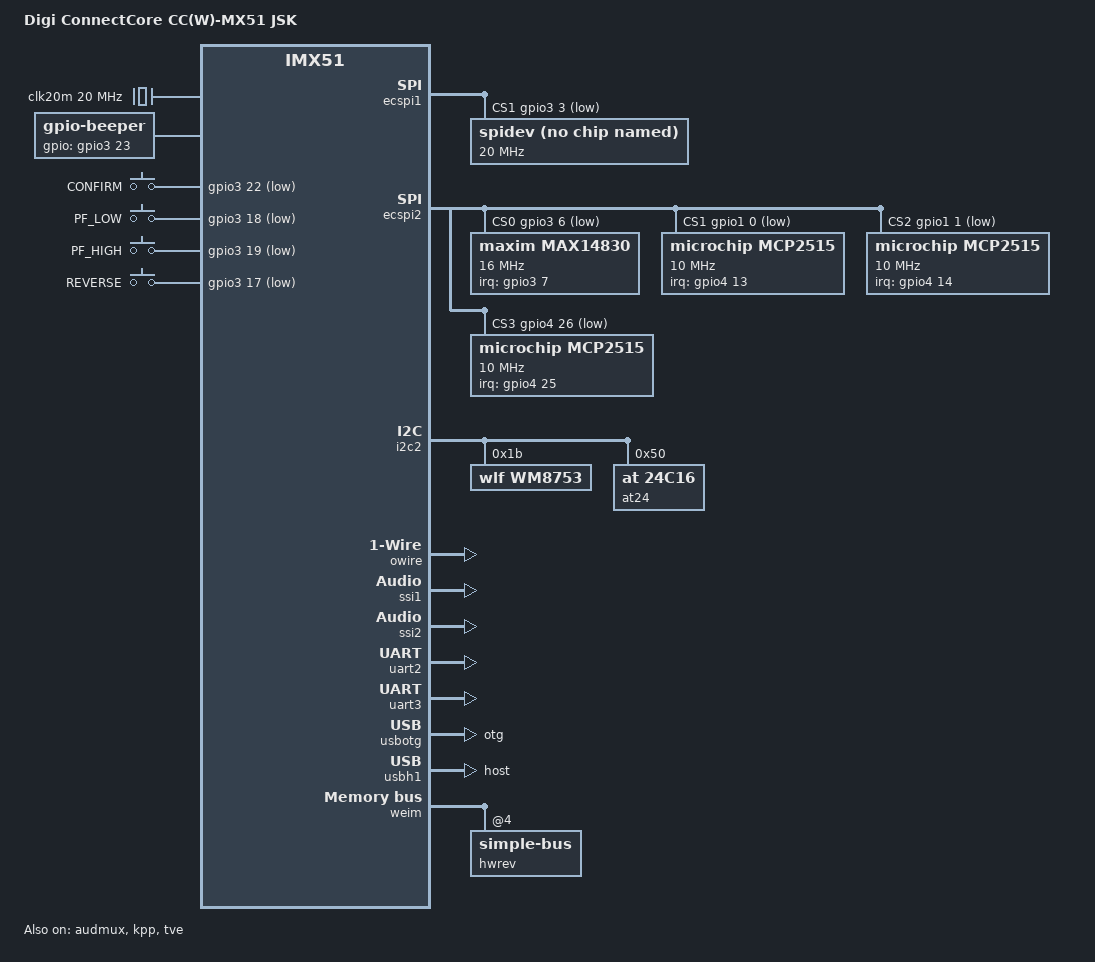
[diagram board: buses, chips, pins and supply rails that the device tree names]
/*
 * Copyright (C) 2013 Alexander Shiyan <shc_work@mail.ru>
 *
 * The code contained herein is licensed under the GNU General Public
 * License. You may obtain a copy of the GNU General Public License
 * Version 2 or later at the following locations:
 *
 * http://www.opensource.org/licenses/gpl-license.html
 * http://www.gnu.org/copyleft/gpl.html
 */

#include "imx51-digi-connectcore-som.dts"

/ {
	model = "Digi ConnectCore CC(W)-MX51 JSK";
	compatible = "digi,connectcore-ccxmx51-jsk",
		     "digi,connectcore-ccxmx51-som", "fsl,imx51";

	display@di0 {
		pinctrl-names = "default";
		pinctrl-0 = <&pinctrl_ipu_disp1_1>;
		compatible = "fsl,imx-parallel-display";
		crtcs = <&ipu 0>;
		interface-pix-fmt = "rgb565";

		display-timings {
			native-mode = <&timing_di0_0>;

			timing_di0_0: PH320240T {
				clock-frequency = <6333328>;
				hactive = <320>;
				vactive = <240>;
				hback-porch = <38>;
				hfront-porch = <20>;
				hsync-len = <30>;
				vback-porch = <15>;
				vfront-porch = <5>;
				vsync-len = <3>;
				pixelclk-active = <1>;
				hsync-active = <0>;
				vsync-active = <0>;
				de-active = <1>;
			};
		};
	};

/*	display@di1 {
		pinctrl-names = "default";
		pinctrl-0 = <&pinctrl_ipu_disp2_1>;
		compatible = "fsl,imx-parallel-display";
		crtcs = <&ipu 1>;
		interface-pix-fmt = "rgb565";

		display-timings {
			native-mode = <&timing_di1_0>;

			timing_di1_0: PD104SL5 {
				clock-frequency = <33250000>;
				hactive = <800>;
				vactive = <600>;
				hback-porch = <30>;
				hfront-porch = <30>;
				hsync-len = <60>;
				vback-porch = <1>;
				vfront-porch = <1>;
				vsync-len = <2>;
				pixelclk-active = <1>;
				de-active = <1>;
			};
		};
	};*/

	clocks {
		compatible = "simple-bus";
		#address-cells = <1>;
		#size-cells = <0>;

		clk20m: clock@0 {
			compatible = "fixed-clock";
			reg = <0>;
			clock-frequency = <20000000>;
			#clock-cells = <0>;
		};
	};

	beeper: beeper {
		compatible = "gpio-beeper";
		gpios = <&gpio3 23 0>;
	};

	gpiokeys: gpiokeys {
		compatible = "gpio-keys";

		button@0 {
			label = "CONFIRM";
			linux,code = <0x0000>;
			linux,input-type = <0x05>;
			gpios = <&gpio3 22 1>;
		};

		button@1 {
			label = "PF_LOW";
			linux,code = <0x0001>;
			linux,input-type = <0x05>;
			debounce-interval = <0>;
			gpios = <&gpio3 18 1>;
		};

		button@2 {
			label = "PF_HIGH";
			linux,code = <0x0002>;
			linux,input-type = <0x05>;
			debounce-interval = <0>;
			gpios = <&gpio3 19 1>;
		};

		button@3 {
			label = "REVERSE";
			linux,code = <0x0003>;
			linux,input-type = <0x05>;
			gpios = <&gpio3 17 1>;
		};
	};

/*
	usbh1rst: usbh1rst {
		compatible = "regulator-fixed";
		regulator-name = "USBH11-RESET";
		regulator-min-microvolt = <3300000>;
		regulator-max-microvolt = <3300000>;
		gpios = <&gpio3 8 0>;
		startup-delay-us = <650>;
		regulator-always-on;
	};
*/

	sound {
		compatible = "simple-bus";

		ssi0 {
		};

		ssi1 {
		};
	};
};

&audmux {
	pinctrl-names = "default";
	pinctrl-0 = <&pinctrl_audmux_1 &pinctrl_audmux_2>;
	status = "okay";

	/* SSI.0 slave I2S 4-wire, sync, AUD3, playback only */
	ssi0 {
		fsl,audmux-port = <0>; /* MX51_AUDMUX_PORT1_SSI0 */
		fsl,port-config = <0x94800800>, <0x00004000>;
/*
IMX_AUDMUX_V2_PTCR_TFSDIR |
IMX_AUDMUX_V2_PTCR_TFSEL(MX51_AUDMUX_PORT3) |
IMX_AUDMUX_V2_PTCR_TCLKDIR |
IMX_AUDMUX_V2_PTCR_TCSEL(MX51_AUDMUX_PORT3) |
IMX_AUDMUX_V2_PTCR_SYN
*/
/*
IMX_AUDMUX_V2_PDCR_RXDSEL(MX51_AUDMUX_PORT3)
*/
	};

	port3 {
		fsl,audmux-port = <2>; /* MX51_AUDMUX_PORT3 */
		fsl,port-config = <0x00000800> ,<0x00000000>;
	};
/*
IMX_AUDMUX_V2_PTCR_SYN
*/
/*
IMX_AUDMUX_V2_PDCR_RXDSEL(MX51_AUDMUX_PORT1_SSI0)
*/

	/* SSI.1 slave I2S 4-wire, sync, AUD5, record only */
	ssi1 {
		fsl,audmux-port = <1>; /* MX51_AUDMUX_PORT2_SSI1 */
		fsl,port-config = <0xa5000800>, <0x00008000>;
	};
/*
IMX_AUDMUX_V2_PTCR_TFSDIR |
IMX_AUDMUX_V2_PTCR_TFSEL(MX51_AUDMUX_PORT5) |
IMX_AUDMUX_V2_PTCR_TCLKDIR |
IMX_AUDMUX_V2_PTCR_TCSEL(MX51_AUDMUX_PORT5) |
IMX_AUDMUX_V2_PTCR_SYN
*/
/*
IMX_AUDMUX_V2_PDCR_RXDSEL(MX51_AUDMUX_PORT5)
*/

	port5 {
		fsl,audmux-port = <4>; /* MX51_AUDMUX_PORT5 */
		fsl,port-config = <0x00000800>, <0x00002000>;
	};
/*
IMX_AUDMUX_V2_PTCR_SYN
*/
/*
IMX_AUDMUX_V2_PDCR_RXDSEL(MX51_AUDMUX_PORT2_SSI1)
*/
};

&ecspi1 {
	fsl,spi-num-chipselects = <2>;
	cs-gpios = <&gpio4 24 0>, <&gpio3 3 1>;

	spidev: spidev@1 {
		compatible = "rohm,dh2228fv";
		reg = <1>;
		spi-max-frequency = <20000000>;
	};
};

&ecspi2 {
	pinctrl-names = "default";
	pinctrl-0 = <&pinctrl_ecspi2_1>;
	fsl,spi-num-chipselects = <4>;
	cs-gpios = <&gpio3 6 1>, <&gpio1 0 1>, <&gpio1 1 1>, <&gpio4 26 1>;
	status = "okay";

	max14830: max14830@0 {
		compatible = "maxim,max14830";
		spi-max-frequency = <16000000>;
		reg = <0>;
		clocks = <&clk20m>;
		clock-names = "osc";
		interrupt-parent = <&gpio3>;
		interrupts = <7 0x2>;
		gpio-controller;
		#gpio-cells = <2>;
	};

	mcp2515@1 {
		compatible = "microchip,mcp2515";
		spi-max-frequency = <10000000>;
		reg = <1>;
		clocks = <&clk20m>;
		interrupt-parent = <&gpio4>;
		interrupts = <13 0x2>;
	};

	mcp2515@2 {
		compatible = "microchip,mcp2515";
		spi-max-frequency = <10000000>;
		reg = <2>;
		clocks = <&clk20m>;
		interrupt-parent = <&gpio4>;
		interrupts = <14 0x2>;
	};

	mcp2515@3 {
		compatible = "microchip,mcp2515";
		spi-max-frequency = <10000000>;
		reg = <3>;
		clocks = <&clk20m>;
		interrupt-parent = <&gpio4>;
		interrupts = <25 0x2>;
	};
};

&i2c2 {
	wm8753: wm8753@1b {
		compatible = "wlf,wm8753";
		reg = <0x1b>;
	};

	at24@50 {
		compatible = "at,24c16";
		reg = <0x50>;
		pagesize = <256>;
	};
};

&kpp {
	pinctrl-names = "default";
	pinctrl-0 = <&pinctrl_kpp_1 &pinctrl_kpp_col45_1>;
	linux,keymap = <
		0x00000000
		0x00010001
		0x00020002
		0x00030003
		0x00040004
		0x00050005
		0x01000010
		0x01010011
		0x01020012
		0x01030013
		0x01040014
		0x01050015
		0x02000020
		0x02010021
		0x02020022
		0x02030023
		0x02040024
		0x02050025
		0x03000030
		0x03010031
		0x03020032
		0x03030033
		0x03040034
		0x03050035
	>;
	status = "okay";
};

&owire {
	pinctrl-names = "default";
	pinctrl-0 = <&pinctrl_owire_1>;
	status = "okay";
};

&ssi1 {
	fsl,mode = "i2s-slave";
	status = "okay";
};

&ssi2 {
	fsl,mode = "i2s-slave";
	status = "okay";
};

&tve {
	clocks = <&clks 69>, <&clks 115>;
	clock-names = "tve", "di_sel";
	crtcs = <&ipu 0>;
	fsl,tve-mode = "tvout";
	status = "okay";
};

&uart2 {
	pinctrl-names = "default";
	pinctrl-0 = <&pinctrl_uart2_1>;
	status = "okay";
};

&uart3 {
	pinctrl-names = "default";
	pinctrl-0 = <&pinctrl_uart3_2>;
	status = "okay";
};

&usbotg {
	dr_mode = "otg";
	status = "okay";
};

&usbh1 {
	pinctrl-names = "default";
	pinctrl-0 = <&pinctrl_usbh1_1>;
	dr_mode = "host";
	phy_type = "ulpi";
	disable-over-current;
	status = "okay";
};

&weim {
	pinctrl-names = "default";
	pinctrl-0 = <&pinctrl_weim_1 &pinctrl_weim_cs4_1 &pinctrl_weim_cs5_1>;

	hwrev: hwrev@cc000000 {
		compatible = "simple-bus";
		reg = <4 0x00000000 0x1000>;
		fsl,weim-cs-timing = <
			0x00460081 0x00000000
			0x32260000 0x00000000
			0x72080f00 0x00000000
		>;
	};
};

&iomuxc {
	pinctrl-names = "default";
	pinctrl-0 = <&pinctrl_hog &pinctrl_custom>;

	audmux {
		pinctrl_audmux_1: audmuxgrp-1 {
			fsl,pins = <
				MX51_PAD_AUD3_BB_TXD__AUD3_TXD 0x80000000
				MX51_PAD_AUD3_BB_CK__AUD3_TXC  0x80000000
				MX51_PAD_AUD3_BB_FS__AUD3_TXFS 0x80000000
			>;
		};

		pinctrl_audmux_2: audmuxgrp-2 {
			fsl,pins = <
				MX51_PAD_SD1_DATA1__AUD5_RXD 0x80000000
				MX51_PAD_SD1_CLK__AUD5_RXC   0x80000000
				MX51_PAD_SD1_CMD__AUD5_RXFS  0x80000000
			>;
		};
	};

	custom {
		pinctrl_custom: customgrp {
			fsl,pins = <
				/* eCSPI Chipselects */
				MX51_PAD_DI1_D0_CS__GPIO3_3      0x85
				MX51_PAD_DISPB2_SER_DIO__GPIO3_6 0x85
				MX51_PAD_GPIO1_0__GPIO1_0        0x85
				MX51_PAD_GPIO1_1__GPIO1_1        0x85
				MX51_PAD_CSPI1_RDY__GPIO4_26     0x85
				/* MAX14830 IRQ */
				MX51_PAD_DISPB2_SER_CLK__GPIO3_7 0xe5
				/* USBH1 Reset */
				MX51_PAD_DISPB2_SER_RS__GPIO3_8  0x85
				/* MCP2515 IRQ */
				MX51_PAD_CSI2_VSYNC__GPIO4_13    0xe5
				MX51_PAD_CSI2_HSYNC__GPIO4_14    0xe5
				MX51_PAD_CSPI1_SS1__GPIO4_25     0xe5
				/* IO Enable */
				MX51_PAD_DI1_PIN13__GPIO3_2      0x85
				/* GPIO Keys*/
				MX51_PAD_NANDF_CS1__GPIO3_17     0xe5
				MX51_PAD_NANDF_CS2__GPIO3_18     0xe5
				MX51_PAD_NANDF_CS3__GPIO3_19     0xe5
				MX51_PAD_NANDF_CS4__GPIO3_20     0xe5
				MX51_PAD_NANDF_CS5__GPIO3_21     0xe5
				MX51_PAD_NANDF_CS6__GPIO3_22     0xe5
				/* Buzzer */
				MX51_PAD_NANDF_CS7__GPIO3_23     0x85
				/* At this time unused, but routed */
				MX51_PAD_DI1_PIN11__GPIO3_0      0xe5
				MX51_PAD_DI1_PIN12__GPIO3_1      0xe5
				MX51_PAD_DI1_D1_CS__GPIO3_4      0xe5
				MX51_PAD_DISPB2_SER_DIN__GPIO3_5 0xe5
				MX51_PAD_NANDF_RB1__GPIO3_9      0x85
				MX51_PAD_CSI1_D8__GPIO3_12       0xe5
				MX51_PAD_CSI1_D9__GPIO3_13       0xe5
				MX51_PAD_CSI1_VSYNC__GPIO3_14    0xe5
				MX51_PAD_CSI1_HSYNC__GPIO3_15    0xe5
				MX51_PAD_AUD3_BB_RXD__GPIO4_19   0xe5
			>;
		};
	};
};
